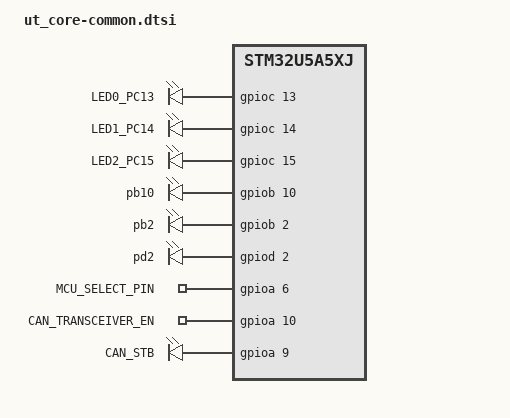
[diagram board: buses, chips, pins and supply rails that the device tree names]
/*
 * UT-CORE (STM32U5A5xx)
 * Crystal-less bring-up, no USART, LED visibility on PC13/14/15
 */

/dts-v1/;

#include <st/u5/stm32u5a5Xj.dtsi>
#include <zephyr/dt-bindings/gpio/gpio.h>
#include <zephyr/dt-bindings/pinctrl/stm32-pinctrl.h>

/ {
pins {
compatible = "gpio-leds";

led0: led_0 {
  gpios = <&gpioc 13 GPIO_ACTIVE_HIGH>;
  label = "LED0_PC13";
};

led1: led_1 {
  gpios = <&gpioc 14 GPIO_ACTIVE_HIGH>;
  label = "LED1_PC14";
};

led2: led_2 {
  gpios = <&gpioc 15 GPIO_ACTIVE_HIGH>;
  label = "LED2_PC15";
};

pb10: pb10 {
  gpios = <&gpiob 10 GPIO_ACTIVE_HIGH>;
  label = "pb10";
};

pb2: pb2 {
  gpios = <&gpiob 2 GPIO_ACTIVE_HIGH>;
  label = "pb2";
};

pd2: pd2 {
		gpios = <&gpiod 2 GPIO_ACTIVE_HIGH>;
	  label = "pd2";
	};

mcu_select_pin: mcu_select_pin {
    gpios = <&gpioa 6 GPIO_ACTIVE_HIGH>;
    label = "MCU_SELECT_PIN";
  };

canengpio: canengpio {
    gpios = <&gpioa 10 GPIO_ACTIVE_HIGH>; /* PA10 */
    label = "CAN_TRANSCEIVER_EN";
  };

canstbgpio: canstbgpio {
    gpios = <&gpioa 9 GPIO_ACTIVE_HIGH>; /* PA9 */
    label = "CAN_STB";
	};

	};
};

/* Internal 48 MHz oscillator (safe; useful later for USB) */
&clk_hsi48 {
status = "disabled";
};

&clk_hsi {
    status = "okay";
};

/* No external crystals */
&clk_hse { status = "disabled"; };
&clk_lse { status = "disabled"; };

&clk_msis {
  status = "okay";
};

&rcc {
  clocks = <&clk_msis>;
  /* Pick a conservative frequency that matches common reset MSIS value */
  clock-frequency = <DT_FREQ_M(4)>;
  ahb-prescaler = <1>;
  apb1-prescaler = <1>;
  apb2-prescaler = <1>;
  apb3-prescaler = <1>;
};



&gpioa {
	status = "okay";
};

&gpiob {
status = "okay";
};

&gpioc {
status = "okay";
};

&gpiod {
    status = "okay";
};

&gpioh {
    status = "okay";
};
